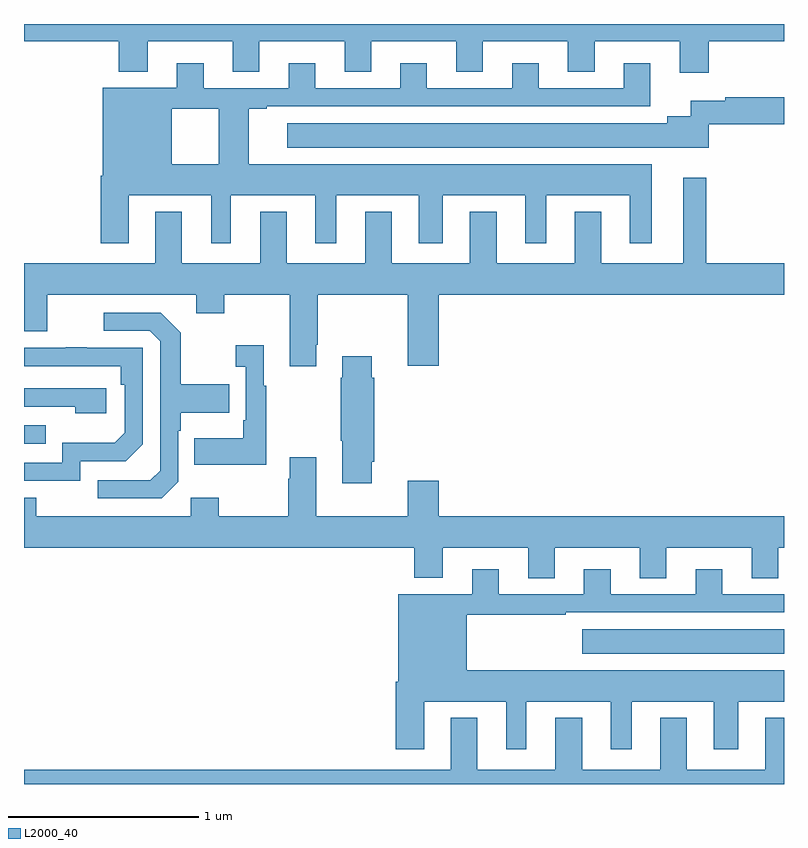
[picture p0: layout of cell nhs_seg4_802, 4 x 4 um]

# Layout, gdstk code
import gdstk
lib = gdstk.Library(unit=1e-6, precision=1e-09)
def R(c, l, rs):  # rectangles x0, y0, x1, y1
    for r in rs: c.add(gdstk.rectangle(r[:2], r[2:], *l))
def P(c, l, *ps):  # polygons
    for p in ps: c.add(gdstk.Polygon(p, *l))
L2000_40 = (2000, 40)

nhs_seg4_802 = lib.new_cell('nhs_seg4_802')
R(nhs_seg4_802, L2000_40, [(153.939,805.586,155,805.714), (151,806.691,151.115,806.787)])
P(nhs_seg4_802, L2000_40, [(154.604,808.808),(155,808.808),(155,808.9),(151,808.9),(151,808.808),(151.499,808.808),(151.499,808.649),(151.651,808.649),(151.651,808.808),(152.099,808.808),(152.099,808.648),(152.239,808.648),(152.239,808.808),(152.687,808.808),(152.687,808.648),(152.827,808.648),(152.827,808.808),(153.275,808.808),(153.275,808.648),(153.415,808.648),(153.415,808.808),(153.863,808.808),(153.863,808.648),(154.003,808.648),(154.003,808.808),(154.451,808.808),(154.451,808.644),(154.604,808.644)],
  [(151.403,808.102),(151.403,807.747),(151.552,807.747),(151.552,807.998),(151.985,807.998),(151.985,807.747),(152.089,807.747),(152.089,807.998),(152.534,807.998),(152.534,807.747),(152.644,807.747),(152.644,807.998),(153.077,807.998),(153.077,807.747),(153.205,807.747),(153.205,807.998),(153.638,807.998),(153.638,807.747),(153.748,807.747),(153.748,807.998),(154.187,807.998),(154.187,807.747),(154.303,807.747),(154.303,808.162),(152.182,808.162),(152.182,808.455),(152.278,808.455),(152.278,808.467),(154.297,808.467),(154.297,808.693),(154.157,808.693),(154.157,808.563),(153.709,808.563),(153.709,808.693),(153.569,808.693),(153.569,808.563),(153.121,808.563),(153.121,808.693),(152.981,808.693),(152.981,808.563),(152.533,808.563),(152.533,808.693),(152.393,808.693),(152.393,808.563),(151.945,808.563),(151.945,808.693),(151.805,808.693),(151.805,808.564),(151.415,808.564),(151.415,808.162),(151.777,808.162),(151.777,808.455),(152.024,808.455),(152.024,808.162),(151.777,808.162),(151.415,808.162),(151.415,808.102)],
  [(154.605,808.373),(155,808.373),(155,808.515),(154.692,808.515),(154.692,808.495),(154.509,808.495),(154.509,808.414),(154.385,808.414),(154.385,808.378),(152.385,808.378),(152.385,808.25),(154.605,808.25)],
  [(152.539,807.211),(152.547,807.211),(152.547,807.476),(153.02,807.476),(153.02,807.102),(153.184,807.102),(153.184,807.476),(155,807.476),(155,807.64),(154.591,807.64),(154.591,808.09),(154.469,808.09),(154.469,807.64),(154.039,807.64),(154.039,807.913),(153.899,807.913),(153.899,807.64),(153.487,807.64),(153.487,807.913),(153.347,807.913),(153.347,807.64),(152.935,807.64),(152.935,807.913),(152.795,807.913),(152.795,807.64),(152.383,807.64),(152.383,807.913),(152.243,807.913),(152.243,807.64),(151.831,807.64),(151.831,807.913),(151.691,807.913),(151.691,807.64),(151,807.64),(151,807.282),(151.123,807.282),(151.123,807.476),(151.907,807.476),(151.907,807.377),(152.055,807.377),(152.055,807.476),(152.399,807.476),(152.399,807.099),(152.539,807.099)],
  [(151.812,806.49),(151.812,806.759),(151.825,806.759),(151.825,806.855),(152.081,806.855),(152.081,807.003),(151.825,807.003),(151.825,807.275),(151.719,807.381),(151.419,807.381),(151.419,807.285),(151.662,807.285),(151.716,807.231),(151.716,806.55),(151.665,806.499),(151.389,806.499),(151.389,806.403),(151.725,806.403)],
  [(152.275,806.995),(152.263,806.995),(152.263,807.208),(152.115,807.208),(152.115,807.095),(152.166,807.095),(152.166,806.815),(152.154,806.815),(152.154,806.719),(151.897,806.719),(151.897,806.579),(152.275,806.579)],
  [(151.296,806.598),(151.536,806.598),(151.626,806.688),(151.626,807.195),(151.331,807.195),(151.331,807.2),(151.219,807.2),(151.219,807.195),(151,807.195),(151,807.099),(151.51,807.099),(151.51,807.002),(151.53,807.002),(151.53,806.748),(151.477,806.695),(151.2,806.695),(151.2,806.592),(151,806.592),(151,806.496),(151.296,806.496)],
  [(152.83,806.596),(152.843,806.596),(152.843,807.038),(152.83,807.038),(152.83,807.151),(152.675,807.151),(152.675,807.038),(152.668,807.038),(152.668,806.707),(152.675,806.707),(152.675,806.484),(152.83,806.484)],
  [(151.432,806.982),(151,806.982),(151,806.886),(151.271,806.886),(151.271,806.852),(151.432,806.852)],
  [(153.793,806.144),(154.241,806.144),(154.241,805.984),(154.381,805.984),(154.381,806.144),(154.829,806.144),(154.829,805.984),(154.969,805.984),(154.969,806.144),(155,806.144),(155,806.308),(153.184,806.308),(153.184,806.497),(153.02,806.497),(153.02,806.308),(152.539,806.308),(152.539,806.62),(152.399,806.62),(152.399,806.507),(152.392,806.507),(152.392,806.308),(152.025,806.308),(152.025,806.407),(151.878,806.407),(151.878,806.308),(151.065,806.308),(151.065,806.407),(151,806.407),(151,806.144),(153.053,806.144),(153.053,805.985),(153.205,805.985),(153.205,806.144),(153.653,806.144),(153.653,805.984),(153.793,805.984)],
  [(153.106,805.334),(153.539,805.334),(153.539,805.083),(153.643,805.083),(153.643,805.334),(154.088,805.334),(154.088,805.083),(154.198,805.083),(154.198,805.334),(154.631,805.334),(154.631,805.083),(154.759,805.083),(154.759,805.334),(155,805.334),(155,805.498),(153.331,805.498),(153.331,805.791),(153.851,805.791),(153.851,805.803),(155,805.803),(155,805.899),(154.675,805.899),(154.675,806.029),(154.535,806.029),(154.535,805.899),(154.087,805.899),(154.087,806.029),(153.947,806.029),(153.947,805.899),(153.499,805.899),(153.499,806.029),(153.359,806.029),(153.359,805.9),(152.969,805.9),(152.969,805.438),(152.957,805.438),(152.957,805.083),(153.106,805.083)],
  [(155,805.249),(154.901,805.249),(154.901,804.976),(154.489,804.976),(154.489,805.249),(154.349,805.249),(154.349,804.976),(153.937,804.976),(153.937,805.249),(153.797,805.249),(153.797,804.976),(153.385,804.976),(153.385,805.249),(153.245,805.249),(153.245,804.976),(151,804.976),(151,804.9),(155,804.9)])

lib.write_gds('nhs_seg4_802.gds')
